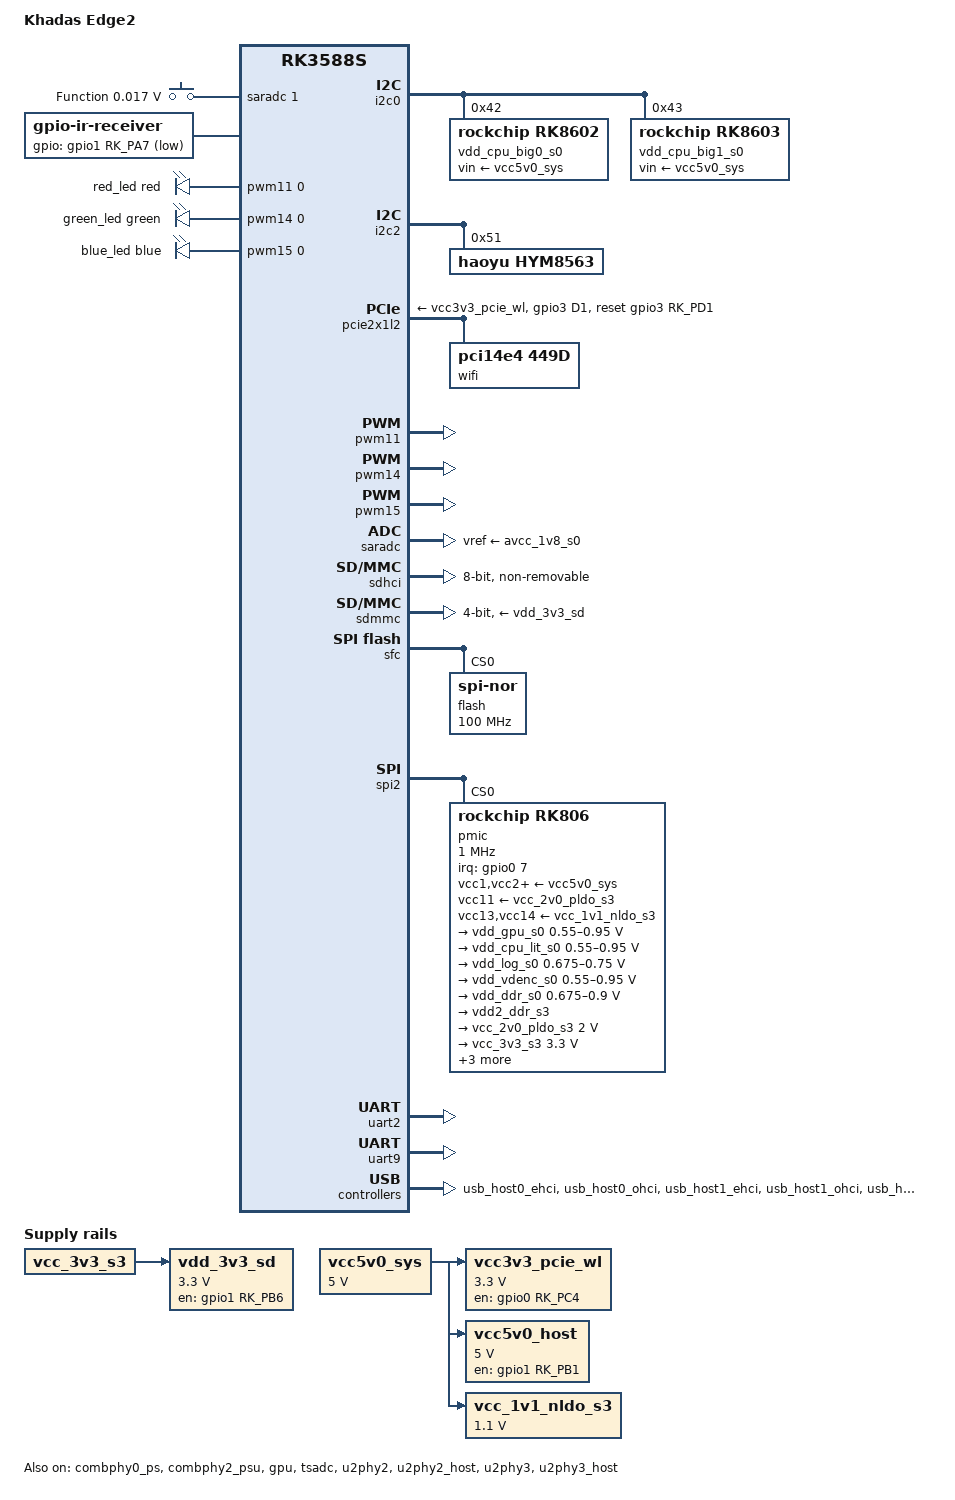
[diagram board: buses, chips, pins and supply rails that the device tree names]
// SPDX-License-Identifier: (GPL-2.0+ OR MIT)

/dts-v1/;

#include <dt-bindings/gpio/gpio.h>
#include <dt-bindings/input/input.h>
#include <dt-bindings/pinctrl/rockchip.h>
#include <dt-bindings/leds/common.h>
#include "rk3588s.dtsi"

/ {
	model = "Khadas Edge2";
	compatible = "khadas,edge2", "rockchip,rk3588s";

	aliases {
		mmc0 = &sdhci;
		mmc1 = &sdmmc;
	};

	chosen {
		stdout-path = "serial2:1500000n8";
	};

	adc-keys {
		compatible = "adc-keys";
		io-channels = <&saradc 1>;
		io-channel-names = "buttons";
		keyup-threshold-microvolt = <1800000>;
		poll-interval = <100>;

		button-function {
			label = "Function";
			linux,code = <KEY_FN>;
			press-threshold-microvolt = <17000>;
		};
	};

	ir-receiver {
		compatible = "gpio-ir-receiver";
		gpios = <&gpio1 RK_PA7 GPIO_ACTIVE_LOW>;
		pinctrl-names = "default";
		pinctrl-0 = <&ir_receiver_pin>;
	};

	leds {
		compatible = "pwm-leds";

		red_led: led-0 {
			label = "red_led";
			color = <LED_COLOR_ID_RED>;
			default-state = "off";
			function = LED_FUNCTION_INDICATOR;
			linux,default-trigger = "none";
			max-brightness = <255>;
			pwms = <&pwm11 0 25000 0>;
		};

		green_led: led-1 {
			label = "green_led";
			color = <LED_COLOR_ID_GREEN>;
			default-state = "on";
			function = LED_FUNCTION_POWER;
			linux,default-trigger = "default-on";
			max-brightness = <255>;
			pwms = <&pwm14 0 25000 0>;
		};

		blue_led: led-2 {
			label = "blue_led";
			color = <LED_COLOR_ID_BLUE>;
			default-state = "off";
			function = LED_FUNCTION_INDICATOR;
			linux,default-trigger = "none";
			max-brightness = <255>;
			pwms = <&pwm15 0 25000 0>;
		};
	};

	vcc3v3_pcie_wl: regulator-vcc3v3-pcie-wl {
		compatible = "regulator-fixed";
		enable-active-high;
		gpios = <&gpio0 RK_PC4 GPIO_ACTIVE_HIGH>;
		pinctrl-names = "default";
		pinctrl-0 = <&pcie2_2_vcc3v3_en>;
		regulator-name = "vcc3v3_pcie_wl";
		regulator-min-microvolt = <3300000>;
		regulator-max-microvolt = <3300000>;
		startup-delay-us = <5000>;
		vin-supply = <&vcc5v0_sys>;
	};

	vcc5v0_host: regulator-vcc5v0-host {
		compatible = "regulator-fixed";
		regulator-name = "vcc5v0_host";
		regulator-boot-on;
		regulator-always-on;
		regulator-min-microvolt = <5000000>;
		regulator-max-microvolt = <5000000>;
		enable-active-high;
		gpio = <&gpio1 RK_PB1 GPIO_ACTIVE_HIGH>;
		pinctrl-names = "default";
		pinctrl-0 = <&vcc5v0_host_en>;
		vin-supply = <&vcc5v0_sys>;
	};

	vcc5v0_sys: regulator-vcc5v0-sys {
		compatible = "regulator-fixed";
		regulator-name = "vcc5v0_sys";
		regulator-always-on;
		regulator-boot-on;
		regulator-min-microvolt = <5000000>;
		regulator-max-microvolt = <5000000>;
	};

	vcc_1v1_nldo_s3: regulator-vcc-1v1-nldo-s3 {
		compatible = "regulator-fixed";
		regulator-name = "vcc_1v1_nldo_s3";
		regulator-always-on;
		regulator-boot-on;
		regulator-min-microvolt = <1100000>;
		regulator-max-microvolt = <1100000>;
		vin-supply = <&vcc5v0_sys>;
	};

	vdd_3v3_sd: regulator-vdd-3v3-sd {
		compatible = "regulator-fixed";
		regulator-name = "vdd_3v3_sd";
		gpios = <&gpio1 RK_PB6 GPIO_ACTIVE_HIGH>;
		regulator-boot-on;
		enable-active-high;
		regulator-min-microvolt = <3300000>;
		regulator-max-microvolt = <3300000>;
		vin-supply = <&vcc_3v3_s3>;
		pinctrl-names = "default";
		pinctrl-0 = <&vdd_sd_en>;
	};
};

&cpu_b0 {
	cpu-supply = <&vdd_cpu_big0_s0>;
};

&cpu_b1 {
	cpu-supply = <&vdd_cpu_big0_s0>;
};

&cpu_b2 {
	cpu-supply = <&vdd_cpu_big1_s0>;
};

&cpu_b3 {
	cpu-supply = <&vdd_cpu_big1_s0>;
};

&cpu_l0 {
	cpu-supply = <&vdd_cpu_lit_s0>;
};

&cpu_l1 {
	cpu-supply = <&vdd_cpu_lit_s0>;
};

&cpu_l2 {
	cpu-supply = <&vdd_cpu_lit_s0>;
};

&cpu_l3 {
	cpu-supply = <&vdd_cpu_lit_s0>;
};

&combphy0_ps {
	status = "okay";
};

&combphy2_psu {
	status = "okay";
};

&gpu {
	mali-supply = <&vdd_gpu_s0>;
	status = "okay";
};

&i2c0 {
	pinctrl-names = "default";
	pinctrl-0 = <&i2c0m2_xfer>;
	status = "okay";

	vdd_cpu_big0_s0: regulator@42 {
		compatible = "rockchip,rk8602";
		reg = <0x42>;
		fcs,suspend-voltage-selector = <1>;
		regulator-name = "vdd_cpu_big0_s0";
		regulator-always-on;
		regulator-boot-on;
		regulator-min-microvolt = <550000>;
		regulator-max-microvolt = <1050000>;
		regulator-ramp-delay = <2300>;
		vin-supply = <&vcc5v0_sys>;

		regulator-state-mem {
			regulator-off-in-suspend;
		};
	};

	vdd_cpu_big1_s0: regulator@43 {
		compatible = "rockchip,rk8603", "rockchip,rk8602";
		reg = <0x43>;
		fcs,suspend-voltage-selector = <1>;
		regulator-name = "vdd_cpu_big1_s0";
		regulator-always-on;
		regulator-boot-on;
		regulator-min-microvolt = <550000>;
		regulator-max-microvolt = <1050000>;
		regulator-ramp-delay = <2300>;
		vin-supply = <&vcc5v0_sys>;

		regulator-state-mem {
			regulator-off-in-suspend;
		};
	};
};

&i2c2 {
	status = "okay";

	hym8563: rtc@51 {
		compatible = "haoyu,hym8563";
		reg = <0x51>;
		#clock-cells = <0>;
		clock-output-names = "hym8563";
		wakeup-source;
	};
};

&pd_gpu {
	domain-supply = <&vdd_gpu_s0>;
};

&pinctrl {
	vdd_sd {
		vdd_sd_en: vdd-sd-en {
			rockchip,pins = <1 RK_PB6 RK_FUNC_GPIO &pcfg_pull_up>;
		};
	};

	pcie2 {
		pcie2_2_rst: pcie2-2-rst {
			rockchip,pins = <3 RK_PD1 RK_FUNC_GPIO &pcfg_pull_none>;
		};

		pcie2_2_vcc3v3_en: pcie2-2-vcc-en {
			rockchip,pins = <0 RK_PC4 RK_FUNC_GPIO &pcfg_pull_none>;
		};
	};

	usb {
		vcc5v0_host_en: vcc5v0-host-en {
			rockchip,pins = <1 RK_PB1 RK_FUNC_GPIO &pcfg_pull_none>;
		};
	};

	ir-receiver {
		ir_receiver_pin: ir-receiver-pin {
			rockchip,pins = <1  RK_PA7  RK_FUNC_GPIO  &pcfg_pull_none>;
		};
	};

	wireless-bluetooth {
		bt_reset_pin: bt-reset-pin {
			rockchip,pins = <0 RK_PD4 RK_FUNC_GPIO &pcfg_pull_none>;
		};

		bt_wake_pin: bt-wake-pin {
			rockchip,pins = <0 RK_PD3 RK_FUNC_GPIO &pcfg_pull_up>;
		};

		bt_wake_host_irq: bt-wake-host-irq {
			rockchip,pins = <0 RK_PD5 RK_FUNC_GPIO &pcfg_pull_down>;
		};
	};
};

&pcie2x1l2 {
	pinctrl-names = "default";
	pinctrl-0 = <&pcie2_2_rst>;
	reset-gpios = <&gpio3 RK_PD1 GPIO_ACTIVE_HIGH>;
	vpcie3v3-supply = <&vcc3v3_pcie_wl>;
	status = "okay";

	pcie@0,0 {
		reg = <0x400000 0 0 0 0>;
		#address-cells = <3>;
		#size-cells = <2>;
		ranges;
		device_type = "pci";
		bus-range = <0x40 0x4f>;

		wifi: wifi@0,0 {
			compatible = "pci14e4,449d";
			reg = <0x410000 0 0 0 0>;
			clocks = <&hym8563>;
			clock-names = "lpo";
		};
	};
};

&pwm11 {
	pinctrl-names = "default";
	pinctrl-0 = <&pwm11m1_pins>;
	status = "okay";
};

&pwm14 {
	pinctrl-names = "default";
	pinctrl-0 = <&pwm14m1_pins>;
	status = "okay";
};

&pwm15 {
	pinctrl-names = "default";
	pinctrl-0 = <&pwm15m1_pins>;
	status = "okay";
};

&saradc {
	vref-supply = <&avcc_1v8_s0>;
	status = "okay";
};

&sdhci {
	bus-width = <8>;
	no-sdio;
	no-sd;
	non-removable;
	mmc-hs400-1_8v;
	mmc-hs400-enhanced-strobe;
	status = "okay";
};

&sdmmc {
	bus-width = <4>;
	cap-sd-highspeed;
	disable-wp;
	no-mmc;
	no-sdio;
	sd-uhs-sdr104;
	vmmc-supply = <&vdd_3v3_sd>;
	vqmmc-supply = <&vccio_sd_s0>;
	status = "okay";
};

&sfc {
	pinctrl-names = "default";
	pinctrl-0 = <&fspim2_pins>;
	status = "okay";

	flash@0 {
		compatible = "jedec,spi-nor";
		reg = <0x0>;
		spi-max-frequency = <100000000>;
		spi-rx-bus-width = <4>;
		spi-tx-bus-width = <1>;
	};
};

&spi2 {
	assigned-clocks = <&cru CLK_SPI2>;
	assigned-clock-rates = <200000000>;
	num-cs = <1>;
	pinctrl-names = "default";
	pinctrl-0 = <&spi2m2_cs0 &spi2m2_pins>;
	status = "okay";

	pmic@0 {
		compatible = "rockchip,rk806";
		reg = <0x0>;
		interrupt-parent = <&gpio0>;
		interrupts = <7 IRQ_TYPE_LEVEL_LOW>;
		pinctrl-names = "default";
		pinctrl-0 = <&pmic_pins>, <&rk806_dvs1_null>,
			    <&rk806_dvs2_null>, <&rk806_dvs3_null>;
		spi-max-frequency = <1000000>;
		system-power-controller;

		vcc1-supply = <&vcc5v0_sys>;
		vcc2-supply = <&vcc5v0_sys>;
		vcc3-supply = <&vcc5v0_sys>;
		vcc4-supply = <&vcc5v0_sys>;
		vcc5-supply = <&vcc5v0_sys>;
		vcc6-supply = <&vcc5v0_sys>;
		vcc7-supply = <&vcc5v0_sys>;
		vcc8-supply = <&vcc5v0_sys>;
		vcc9-supply = <&vcc5v0_sys>;
		vcc10-supply = <&vcc5v0_sys>;
		vcc11-supply = <&vcc_2v0_pldo_s3>;
		vcc12-supply = <&vcc5v0_sys>;
		vcc13-supply = <&vcc_1v1_nldo_s3>;
		vcc14-supply = <&vcc_1v1_nldo_s3>;
		vcca-supply = <&vcc5v0_sys>;

		gpio-controller;
		#gpio-cells = <2>;

		rk806_dvs1_null: dvs1-null-pins {
			pins = "gpio_pwrctrl1";
			function = "pin_fun0";
		};

		rk806_dvs2_null: dvs2-null-pins {
			pins = "gpio_pwrctrl2";
			function = "pin_fun0";
		};

		rk806_dvs3_null: dvs3-null-pins {
			pins = "gpio_pwrctrl3";
			function = "pin_fun0";
		};

		regulators {
			vdd_gpu_s0: vdd_gpu_mem_s0: dcdc-reg1 {
				regulator-boot-on;
				regulator-enable-ramp-delay = <400>;
				regulator-min-microvolt = <550000>;
				regulator-max-microvolt = <950000>;
				regulator-name = "vdd_gpu_s0";
				regulator-ramp-delay = <12500>;

				regulator-state-mem {
					regulator-off-in-suspend;
				};
			};

			vdd_cpu_lit_s0: vdd_cpu_lit_mem_s0: dcdc-reg2 {
				regulator-always-on;
				regulator-boot-on;
				regulator-min-microvolt = <550000>;
				regulator-max-microvolt = <950000>;
				regulator-name = "vdd_cpu_lit_s0";
				regulator-ramp-delay = <12500>;

				regulator-state-mem {
					regulator-off-in-suspend;
				};
			};

			vdd_log_s0: dcdc-reg3 {
				regulator-always-on;
				regulator-boot-on;
				regulator-min-microvolt = <675000>;
				regulator-max-microvolt = <750000>;
				regulator-name = "vdd_log_s0";
				regulator-ramp-delay = <12500>;

				regulator-state-mem {
					regulator-off-in-suspend;
					regulator-suspend-microvolt = <750000>;
				};
			};

			vdd_vdenc_s0: vdd_vdenc_mem_s0: dcdc-reg4 {
				regulator-always-on;
				regulator-boot-on;
				regulator-min-microvolt = <550000>;
				regulator-max-microvolt = <950000>;
				regulator-name = "vdd_vdenc_s0";
				regulator-ramp-delay = <12500>;

				regulator-state-mem {
					regulator-off-in-suspend;
				};
			};

			vdd_ddr_s0: dcdc-reg5 {
				regulator-always-on;
				regulator-boot-on;
				regulator-min-microvolt = <675000>;
				regulator-max-microvolt = <900000>;
				regulator-name = "vdd_ddr_s0";
				regulator-ramp-delay = <12500>;

				regulator-state-mem {
					regulator-off-in-suspend;
					regulator-suspend-microvolt = <850000>;
				};
			};

			vdd2_ddr_s3: dcdc-reg6 {
				regulator-always-on;
				regulator-boot-on;
				regulator-name = "vdd2_ddr_s3";

				regulator-state-mem {
					regulator-on-in-suspend;
				};
			};

			vcc_2v0_pldo_s3: dcdc-reg7 {
				regulator-always-on;
				regulator-boot-on;
				regulator-min-microvolt = <2000000>;
				regulator-max-microvolt = <2000000>;
				regulator-name = "vdd_2v0_pldo_s3";
				regulator-ramp-delay = <12500>;

				regulator-state-mem {
					regulator-on-in-suspend;
					regulator-suspend-microvolt = <2000000>;
				};
			};

			vcc_3v3_s3: dcdc-reg8 {
				regulator-always-on;
				regulator-boot-on;
				regulator-min-microvolt = <3300000>;
				regulator-max-microvolt = <3300000>;
				regulator-name = "vcc_3v3_s3";

				regulator-state-mem {
					regulator-on-in-suspend;
					regulator-suspend-microvolt = <3300000>;
				};
			};

			vddq_ddr_s0: dcdc-reg9 {
				regulator-always-on;
				regulator-boot-on;
				regulator-name = "vddq_ddr_s0";

				regulator-state-mem {
					regulator-off-in-suspend;
				};
			};

			vcc_1v8_s3: dcdc-reg10 {
				regulator-always-on;
				regulator-boot-on;
				regulator-min-microvolt = <1800000>;
				regulator-max-microvolt = <1800000>;
				regulator-name = "vcc_1v8_s3";

				regulator-state-mem {
					regulator-on-in-suspend;
					regulator-suspend-microvolt = <1800000>;
				};
			};

			avcc_1v8_s0: pldo-reg1 {
				regulator-always-on;
				regulator-boot-on;
				regulator-min-microvolt = <1800000>;
				regulator-max-microvolt = <1800000>;
				regulator-name = "avcc_1v8_s0";

				regulator-state-mem {
					regulator-off-in-suspend;
				};
			};

			vcc_1v8_s0: pldo-reg2 {
				regulator-always-on;
				regulator-boot-on;
				regulator-min-microvolt = <1800000>;
				regulator-max-microvolt = <1800000>;
				regulator-name = "vcc_1v8_s0";

				regulator-state-mem {
					regulator-off-in-suspend;
					regulator-suspend-microvolt = <1800000>;
				};
			};

			avdd_1v2_s0: pldo-reg3 {
				regulator-always-on;
				regulator-boot-on;
				regulator-min-microvolt = <1200000>;
				regulator-max-microvolt = <1200000>;
				regulator-name = "avdd_1v2_s0";

				regulator-state-mem {
					regulator-off-in-suspend;
				};
			};

			vcc_3v3_s0: pldo-reg4 {
				regulator-always-on;
				regulator-boot-on;
				regulator-min-microvolt = <3300000>;
				regulator-max-microvolt = <3300000>;
				regulator-ramp-delay = <12500>;
				regulator-name = "vcc_3v3_s0";

				regulator-state-mem {
					regulator-off-in-suspend;
				};
			};

			vccio_sd_s0: pldo-reg5 {
				regulator-always-on;
				regulator-boot-on;
				regulator-min-microvolt = <1800000>;
				regulator-max-microvolt = <3300000>;
				regulator-ramp-delay = <12500>;
				regulator-name = "vccio_sd_s0";

				regulator-state-mem {
					regulator-off-in-suspend;
				};
			};

			pldo6_s3: pldo-reg6 {
				regulator-always-on;
				regulator-boot-on;
				regulator-min-microvolt = <1800000>;
				regulator-max-microvolt = <1800000>;
				regulator-name = "pldo6_s3";

				regulator-state-mem {
					regulator-on-in-suspend;
					regulator-suspend-microvolt = <1800000>;
				};
			};

			vdd_0v75_s3: nldo-reg1 {
				regulator-always-on;
				regulator-boot-on;
				regulator-min-microvolt = <750000>;
				regulator-max-microvolt = <750000>;
				regulator-name = "vdd_0v75_s3";

				regulator-state-mem {
					regulator-on-in-suspend;
					regulator-suspend-microvolt = <750000>;
				};
			};

			vdd_ddr_pll_s0: nldo-reg2 {
				regulator-always-on;
				regulator-boot-on;
				regulator-min-microvolt = <850000>;
				regulator-max-microvolt = <850000>;
				regulator-name = "vdd_ddr_pll_s0";

				regulator-state-mem {
					regulator-off-in-suspend;
					regulator-suspend-microvolt = <850000>;
				};
			};

			avdd_0v75_s0: nldo-reg3 {
				regulator-always-on;
				regulator-boot-on;
				regulator-min-microvolt = <750000>;
				regulator-max-microvolt = <750000>;
				regulator-name = "avdd_0v75_s0";

				regulator-state-mem {
					regulator-off-in-suspend;
				};
			};

			vdd_0v85_s0: nldo-reg4 {
				regulator-always-on;
				regulator-boot-on;
				regulator-min-microvolt = <850000>;
				regulator-max-microvolt = <850000>;
				regulator-name = "vdd_0v85_s0";

				regulator-state-mem {
					regulator-off-in-suspend;
				};
			};

			vdd_0v75_s0: nldo-reg5 {
				regulator-always-on;
				regulator-boot-on;
				regulator-min-microvolt = <750000>;
				regulator-max-microvolt = <750000>;
				regulator-name = "vdd_0v75_s0";

				regulator-state-mem {
					regulator-off-in-suspend;
				};
			};
		};
	};
};

&tsadc {
	status = "okay";
};

&uart2 {
	pinctrl-0 = <&uart2m0_xfer>;
	status = "okay";
};

&uart9 {
	pinctrl-names = "default";
	pinctrl-0 = <&uart9m2_xfer &uart9m2_ctsn>;
	status = "okay";
};

&u2phy2 {
	status = "okay";
};

&u2phy2_host {
	phy-supply = <&vcc5v0_host>;
	status = "okay";
};

&u2phy3 {
	status = "okay";
};

&u2phy3_host {
	phy-supply = <&vcc5v0_host>;
	status = "okay";
};

&usb_host0_ehci {
	status = "okay";
};

&usb_host0_ohci {
	status = "okay";
};

&usb_host1_ehci {
	status = "okay";
};

&usb_host1_ohci {
	status = "okay";
};

&usb_host2_xhci {
	status = "okay";
};
